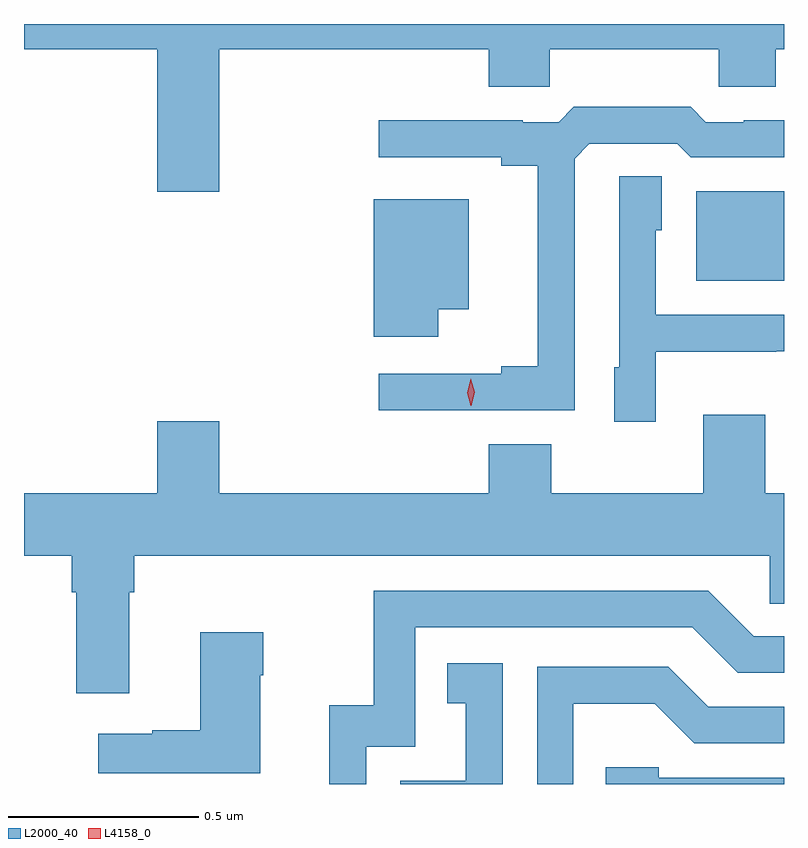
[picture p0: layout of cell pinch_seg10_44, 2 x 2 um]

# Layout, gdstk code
import gdstk
lib = gdstk.Library(unit=1e-6, precision=1e-09)
def R(c, l, rs):  # rectangles x0, y0, x1, y1
    for r in rs: c.add(gdstk.rectangle(r[:2], r[2:], *l))
def P(c, l, *ps):  # polygons
    for p in ps: c.add(gdstk.Polygon(p, *l))
L2000_40 = (2000, 40)
L4158_0 = (4158, 0)

pinch_seg10_44 = lib.new_cell('pinch_seg10_44')
R(pinch_seg10_44, L2000_40, [(897.695,1278.395,897.926,1278.631)])
P(pinch_seg10_44, L2000_40, [(895.926,1279.004),(896.276,1279.004),(896.276,1278.63),(896.44,1278.63),(896.44,1279.004),(897.149,1279.004),(897.149,1278.906),(897.309,1278.906),(897.309,1279.004),(897.754,1279.004),(897.754,1278.906),(897.904,1278.906),(897.904,1279.004),(897.926,1279.004),(897.926,1279.071),(895.926,1279.071)],
  [(897.375,1278.717),(897.414,1278.756),(897.645,1278.756),(897.681,1278.72),(897.926,1278.72),(897.926,1278.818),(897.82,1278.818),(897.82,1278.813),(897.72,1278.813),(897.681,1278.853),(897.373,1278.853),(897.333,1278.813),(897.239,1278.813),(897.239,1278.818),(896.859,1278.818),(896.859,1278.72),(897.182,1278.72),(897.182,1278.698),(897.278,1278.698),(897.278,1278.17),(897.182,1278.17),(897.182,1278.15),(896.859,1278.15),(896.859,1278.054),(897.375,1278.054)],
  [(897.588,1278.209),(897.905,1278.209),(897.905,1278.21),(897.926,1278.21),(897.926,1278.306),(897.588,1278.306),(897.588,1278.528),(897.604,1278.528),(897.604,1278.671),(897.492,1278.671),(897.492,1278.168),(897.479,1278.168),(897.479,1278.024),(897.588,1278.024)],
  [(897.016,1278.32),(897.097,1278.32),(897.097,1278.61),(896.846,1278.61),(896.846,1278.248),(897.016,1278.248)],
  [(896.203,1277.576),(896.216,1277.576),(896.216,1277.672),(897.888,1277.672),(897.888,1277.545),(897.926,1277.545),(897.926,1277.836),(897.877,1277.836),(897.877,1278.043),(897.713,1278.043),(897.713,1277.836),(897.313,1277.836),(897.313,1277.965),(897.149,1277.965),(897.149,1277.836),(896.44,1277.836),(896.44,1278.025),(896.276,1278.025),(896.276,1277.836),(895.926,1277.836),(895.926,1277.672),(896.051,1277.672),(896.051,1277.576),(896.063,1277.576),(896.063,1277.31),(896.203,1277.31)],
  [(896.826,1277.169),(896.955,1277.169),(896.955,1277.484),(897.684,1277.484),(897.804,1277.364),(897.926,1277.364),(897.926,1277.46),(897.846,1277.46),(897.726,1277.58),(896.847,1277.58),(896.847,1277.278),(896.729,1277.278),(896.729,1277.071),(896.826,1277.071)],
  [(896.548,1277.357),(896.556,1277.357),(896.556,1277.47),(896.39,1277.47),(896.39,1277.213),(896.264,1277.213),(896.264,1277.203),(896.121,1277.203),(896.121,1277.099),(896.548,1277.099)],
  [(897.186,1277.389),(897.04,1277.389),(897.04,1277.283),(897.089,1277.283),(897.089,1277.079),(896.916,1277.079),(896.916,1277.071),(897.186,1277.071)],
  [(897.372,1277.282),(897.586,1277.282),(897.69,1277.178),(897.926,1277.178),(897.926,1277.274),(897.727,1277.274),(897.622,1277.379),(897.276,1277.379),(897.276,1277.071),(897.372,1277.071)],
  [(897.926,1277.088),(897.597,1277.088),(897.597,1277.115),(897.457,1277.115),(897.457,1277.071),(897.926,1277.071)])
P(pinch_seg10_44, L4158_0, [(897.102,1278.066),(897.092,1278.101),(897.101,1278.138),(897.102,1278.138),(897.102,1278.138),(897.112,1278.102),(897.103,1278.066),(897.103,1278.066)])

lib.write_gds('pinch_seg10_44.gds')
